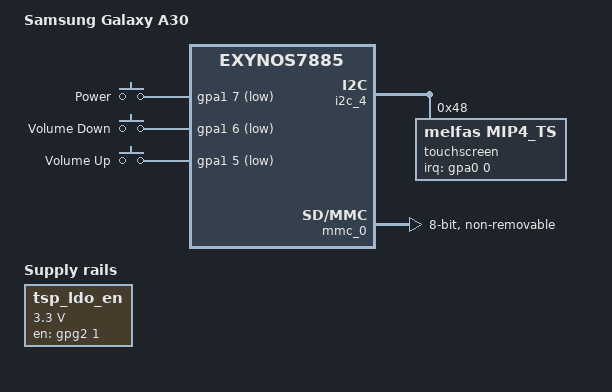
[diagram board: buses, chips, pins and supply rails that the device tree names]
// SPDX-License-Identifier: GPL-2.0
/dts-v1/;
#include <dt-bindings/gpio/gpio.h>
#include <dt-bindings/input/linux-event-codes.h>
#include "exynos7885.dtsi"

/ {
	model = "Samsung Galaxy A30";
	compatible = "samsung,a30", "samsung,exynos7885";
	chassis-type = "handset";

	chosen {
		#address-cells = <2>;
		#size-cells = <1>;
		ranges;
		stdout-path = "fb0";

		fb0: framebuffer@ec000000 {
			compatible = "simple-framebuffer";
			reg = <0x0 0xec000000 (1080 * 2340 * 4)>;
			width = <1080>;
			height = <2340>;
			stride = <(1080 * 4)>;
			format = "a8r8g8b8";
		};
	};

	reserved-memory {
		#address-cells = <2>;
		#size-cells = <1>;
		ranges;

		framebuffer_region@ec000000 { reg = <0x0 0xec000000 0x1400000>; no-map; };
		tima_region@b8000000        { reg = <0x0 0xb8000000 0x200000>;  no-map; };
		sec_debug_magic@80000000    { reg = <0x0 0x80000000 0x1000>;    no-map; };
		seclog_mem@c0000000         { reg = <0x0 0xc0000000 0x80000>;   no-map; };
		wifibt_if@e9000000          { reg = <0x0 0xe9000000 0x400000>;  no-map; };
		abox_rmem: memory@e9400000  { reg = <0x0 0xe9400000 0x400000>; };
		modem_if@f5400000           { reg = <0x0 0xf5400000 0x8800000>; no-map; };
		cp_ram_logging@fdc00000     { reg = <0x0 0xfdc00000 0x2000000>; no-map; };
		gnss_if@ffc00000            { reg = <0x0 0xffc00000 0x400000>;  no-map; };
	};

	memory@80000000 {
		device_type = "memory";
		reg = <0x0 0x80000000 0x3bc00000>,
		      <0x0 0xc0000000 0x40000000>,
		      <0x8 0x80000000 0x80000000>;
	};
};

&oscclk {
	clock-frequency = <26000000>;
};

/ {
	gpio-keys {
		compatible = "gpio-keys";
		pinctrl-names = "default";
		pinctrl-0 = <&key_power &key_voldown &key_volup>;

		key-power {
			label = "Power";
			linux,code = <KEY_POWER>;
			gpios = <&gpa1 7 GPIO_ACTIVE_LOW>;
			wakeup-source;
		};

		key-voldown {
			label = "Volume Down";
			linux,code = <KEY_VOLUMEDOWN>;
			gpios = <&gpa1 6 GPIO_ACTIVE_LOW>;
		};

		key-volup {
			label = "Volume Up";
			linux,code = <KEY_VOLUMEUP>;
			gpios = <&gpa1 5 GPIO_ACTIVE_LOW>;
		};
	};
};

&pinctrl_alive {
	key_power: key-power-pins {
		samsung,pins = "gpa1-7";
		samsung,pin-function = <EXYNOS_PIN_FUNC_EINT>;
		samsung,pin-pud = <EXYNOS_PIN_PULL_NONE>;
		samsung,pin-drv = <EXYNOS5420_PIN_DRV_LV1>;
	};

	key_voldown: key-voldown-pins {
		samsung,pins = "gpa1-6";
		samsung,pin-function = <EXYNOS_PIN_FUNC_EINT>;
		samsung,pin-pud = <EXYNOS_PIN_PULL_NONE>;
		samsung,pin-drv = <EXYNOS5420_PIN_DRV_LV1>;
	};

	key_volup: key-volup-pins {
		samsung,pins = "gpa1-5";
		samsung,pin-function = <EXYNOS_PIN_FUNC_EINT>;
		samsung,pin-pud = <EXYNOS_PIN_PULL_NONE>;
		samsung,pin-drv = <EXYNOS5420_PIN_DRV_LV1>;
	};
};

/ {
	tsp_ldo_en: regulator-tsp-ldo-en {
		compatible = "regulator-fixed";
		regulator-name = "tsp_ldo_en";
		regulator-min-microvolt = <3300000>;
		regulator-max-microvolt = <3300000>;
		gpios = <&gpg2 1 GPIO_ACTIVE_HIGH>;
		enable-active-high;
		regulator-always-on;
		regulator-boot-on;
	};
};

&pinctrl_alive {
	touch_irq: touch-irq-pins {
		samsung,pins = "gpa0-0";
		samsung,pin-function = <EXYNOS_PIN_FUNC_EINT>;
		samsung,pin-pud = <EXYNOS_PIN_PULL_NONE>;
		samsung,pin-drv = <EXYNOS5420_PIN_DRV_LV1>;
	};
};

&i2c_4 {
	status = "okay";
	samsung,i2c-sda-delay = <100>;
	samsung,i2c-max-bus-freq = <400000>;

	touchscreen@48 {
		compatible = "melfas,mip4_ts";
		reg = <0x48>;
		interrupt-parent = <&gpa0>;
		interrupts = <0 IRQ_TYPE_LEVEL_LOW>;
		pinctrl-names = "default";
		pinctrl-0 = <&touch_irq>;
	};
};

&mmc_0 {
	status = "okay";
	bus-width = <8>;
	non-removable;
	broken-cd;
	no-sd;
	no-sdio;
	samsung,dw-mshc-ciu-div = <3>;
	samsung,dw-mshc-sdr-timing = <0 4>;
	samsung,dw-mshc-ddr-timing = <0 2>;
};
